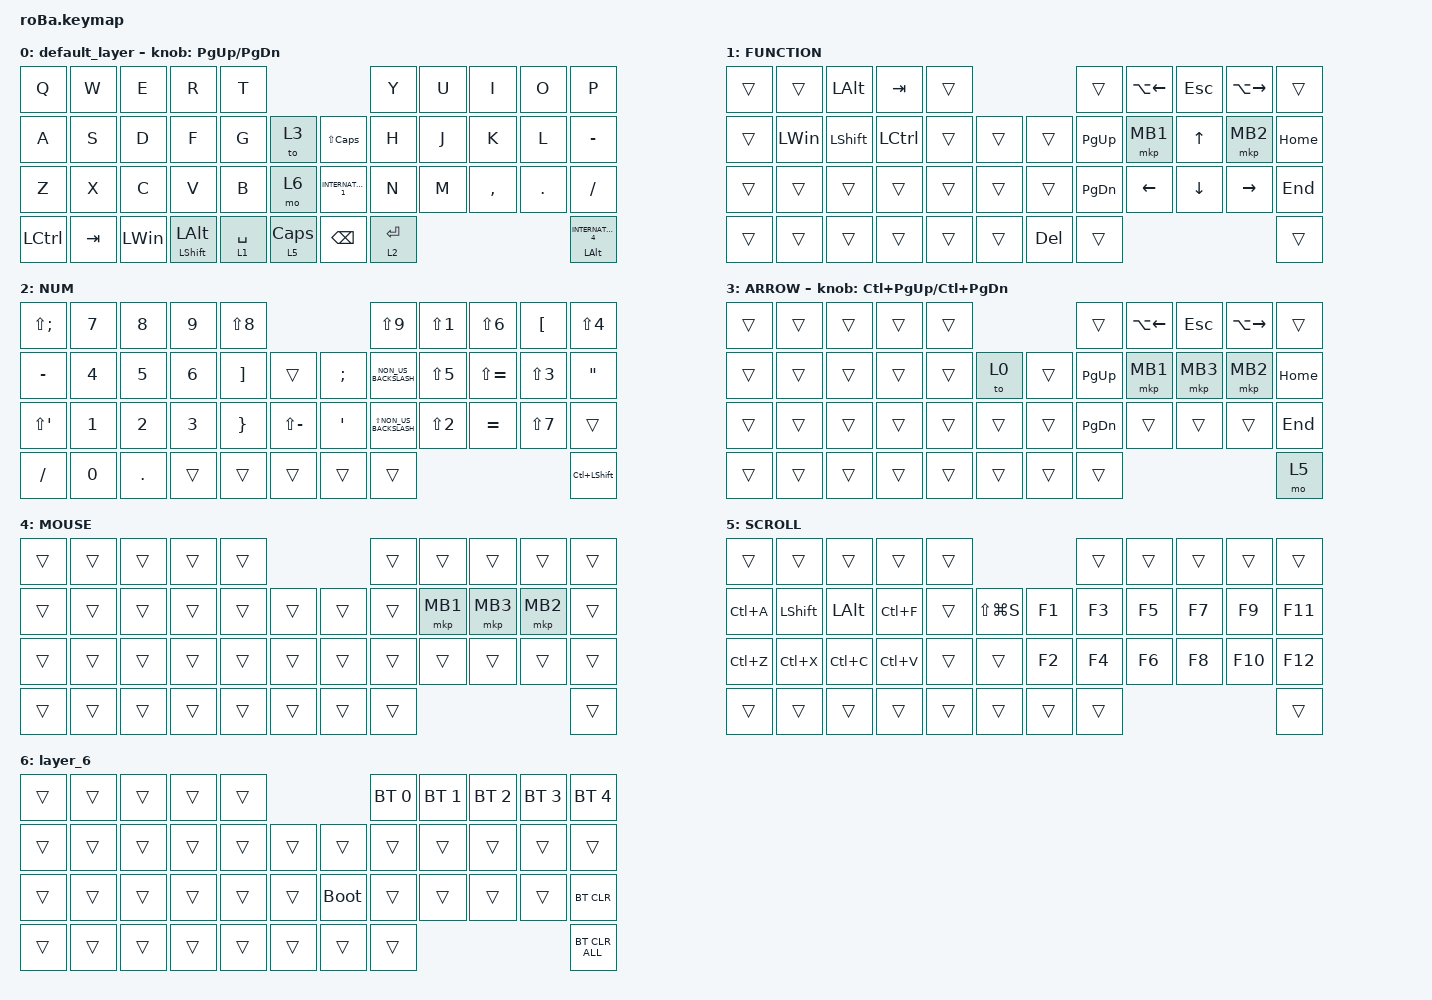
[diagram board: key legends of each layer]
#include <behaviors.dtsi>
#include <dt-bindings/zmk/bt.h>
#include <dt-bindings/zmk/keys.h>
#include <dt-bindings/zmk/pointing.h>

&mt {
    flavor = "balanced";
    quick-tap-ms = <0>;
};

&trackball {
    automouse-layer = <4>;
    scroll-layers = <5>;

    // arrows {
    //     layers = <3>;
    //     bindings =
    //         <&kp RIGHT_ARROW>,
    //         <&kp LEFT_ARROW>,
    //         <&kp UP_ARROW>,
    //         <&kp DOWN_ARROW>;
    //     tick = <10>;
    //     wait-ms = <5>;
    //     tap-ms = <5>;
    // };
};

/ {
    combos { compatible = "zmk,combos"; };

    keymap {
        compatible = "zmk,keymap";

        default_layer {
            bindings = <
&kp Q      &kp W    &kp E         &kp R                    &kp T                                             &kp Y        &kp U  &kp I      &kp O    &kp P
&kp A      &kp S    &kp D         &kp F                    &kp G        &to 3           &kp LS(CAPS)         &kp H        &kp J  &kp K      &kp L    &kp MINUS
&kp Z      &kp X    &kp C         &kp V                    &kp B        &mo 6           &kp INTERNATIONAL_1  &kp N        &kp M  &kp COMMA  &kp DOT  &kp SLASH
&kp LCTRL  &kp TAB  &kp LEFT_WIN  &mt LEFT_SHIFT LEFT_ALT  &lt 1 SPACE  &lt 5 CAPS      &kp BACKSPACE        &lt 2 ENTER                             &mt LEFT_ALT INTERNATIONAL_4
            >;

            sensor-bindings = <&inc_dec_kp PG_UP PAGE_DOWN>;
        };

        FUNCTION {
            bindings = <
&trans  &trans        &kp LEFT_ALT    &kp TAB    &trans                          &trans         &kp LA(LEFT)  &kp ESCAPE  &kp LA(RIGHT)  &trans
&trans  &kp LEFT_WIN  &kp LEFT_SHIFT  &kp LCTRL  &trans  &trans      &trans      &kp PAGE_UP    &mkp MB1      &kp UP      &mkp MB2       &kp HOME
&trans  &trans        &trans          &trans     &trans  &trans      &trans      &kp PAGE_DOWN  &kp LEFT      &kp DOWN    &kp RIGHT      &kp END
&trans  &trans        &trans          &trans     &trans  &trans      &kp DELETE  &trans                                                  &trans
            >;
        };

        NUM {
            bindings = <
&kp LS(SEMICOLON)  &kp NUMBER_7  &kp NUMBER_8  &kp NUMBER_9  &kp LS(N8)                                           &kp LS(NUMBER_9)          &kp LS(NUMBER_1)  &kp LS(NUMBER_6)  &kp LEFT_BRACKET  &kp LS(NUMBER_4)
&kp MINUS          &kp NUMBER_4  &kp NUMBER_5  &kp NUMBER_6  &kp RIGHT_BRACKET  &trans             &kp SEMICOLON  &kp NON_US_BACKSLASH      &kp LS(NUMBER_5)  &kp LS(EQUAL)     &kp LS(NUMBER_3)  &kp DOUBLE_QUOTES
&kp LS(SQT)        &kp NUMBER_1  &kp NUMBER_2  &kp NUMBER_3  &kp RIGHT_BRACE    &kp LS(MINUS)      &kp SQT        &kp LS(NON_US_BACKSLASH)  &kp LS(NUMBER_2)  &kp EQUAL         &kp LS(NUMBER_7)  &trans
&kp SLASH          &kp NUMBER_0  &kp PERIOD    &trans        &trans             &trans             &trans         &trans                                                                          &kp LC(LEFT_SHIFT)
            >;
        };

        ARROW {
            bindings = <
&trans  &trans  &trans  &trans  &trans                      &trans         &kp LA(LEFT)  &kp ESCAPE  &kp LA(RIGHT)  &trans
&trans  &trans  &trans  &trans  &trans  &to 0       &trans  &kp PAGE_UP    &mkp MB1      &mkp MB3    &mkp MB2       &kp HOME
&trans  &trans  &trans  &trans  &trans  &trans      &trans  &kp PAGE_DOWN  &trans        &trans      &trans         &kp END
&trans  &trans  &trans  &trans  &trans  &trans      &trans  &trans                                                  &mo 5
            >;

            sensor-bindings = <&inc_dec_kp LC(PAGE_UP) LC(PAGE_DOWN)>;
        };

        MOUSE {
            bindings = <
&trans  &trans  &trans  &trans  &trans                      &trans  &trans    &trans    &trans    &trans
&trans  &trans  &trans  &trans  &trans  &trans      &trans  &trans  &mkp MB1  &mkp MB3  &mkp MB2  &trans
&trans  &trans  &trans  &trans  &trans  &trans      &trans  &trans  &trans    &trans    &trans    &trans
&trans  &trans  &trans  &trans  &trans  &trans      &trans  &trans                                &trans
            >;
        };

        SCROLL {
            bindings = <
&trans     &trans     &trans     &trans     &trans                             &trans  &trans  &trans  &trans   &trans
&kp LC(A)  &kp LSHFT  &kp LALT   &kp LC(F)  &trans  &kp LS(LG(S))      &kp F1  &kp F3  &kp F5  &kp F7  &kp F9   &kp F11
&kp LC(Z)  &kp LC(X)  &kp LC(C)  &kp LC(V)  &trans  &trans             &kp F2  &kp F4  &kp F6  &kp F8  &kp F10  &kp F12
&trans     &trans     &trans     &trans     &trans  &trans             &trans  &trans                           &trans
            >;
        };

        layer_6 {
            bindings = <
&trans  &trans  &trans  &trans  &trans                           &bt BT_SEL 0  &bt BT_SEL 1  &bt BT_SEL 2  &bt BT_SEL 3  &bt BT_SEL 4
&trans  &trans  &trans  &trans  &trans  &trans      &trans       &trans        &trans        &trans        &trans        &trans
&trans  &trans  &trans  &trans  &trans  &trans      &bootloader  &trans        &trans        &trans        &trans        &bt BT_CLR
&trans  &trans  &trans  &trans  &trans  &trans      &trans       &trans                                                  &bt BT_CLR_ALL
            >;
        };
    };
};
